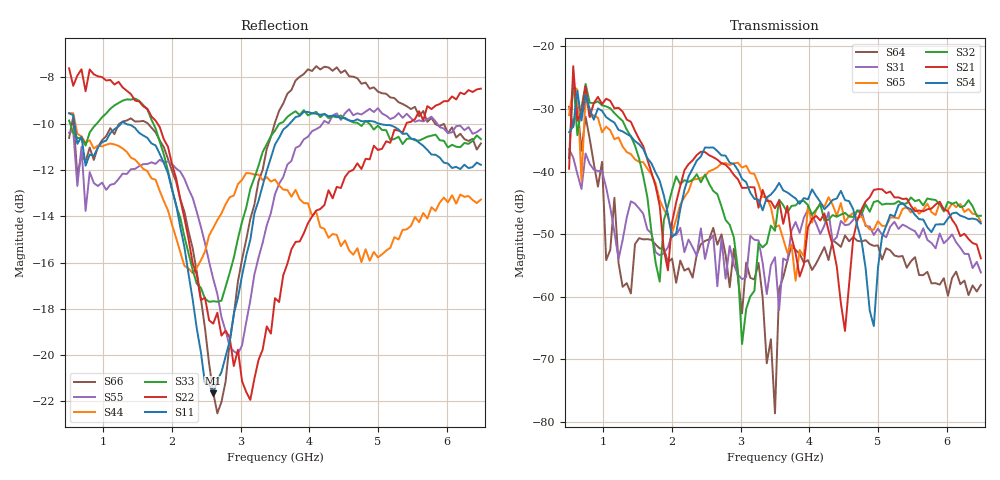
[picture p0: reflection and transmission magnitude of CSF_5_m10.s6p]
!Keysight Technologies,M9804A,MY58100912,A.14.10.03
!Date: Thursday, April 27, 2023 10:28:33
!Correction: S11(C  6-Port  )
!S12(C  6-Port  )
!S13(C  6-Port  )
!S14(C  6-Port  )
!S15(C  6-Port  )
!S16(C  6-Port  )
!S21(C  6-Port  )
!S22(C  6-Port  )
!S23(C  6-Port  )
!S24(C  6-Port  )
!S25(C  6-Port  )
!S26(C  6-Port  )
!S31(C  6-Port  )
!S32(C  6-Port  )
!S33(C  6-Port  )
!S34(C  6-Port  )
!S35(C  6-Port  )
!S36(C  6-Port  )
!S41(C  6-Port  )
!S42(C  6-Port  )
!S43(C  6-Port  )
!S44(C  6-Port  )
!S45(C  6-Port  )
!S46(C  6-Port  )
!S51(C  6-Port  )
!S52(C  6-Port  )
!S53(C  6-Port  )
!S54(C  6-Port  )
!S55(C  6-Port  )
!S56(C  6-Port  )
!S61(C  6-Port  )
!S62(C  6-Port  )
!S63(C  6-Port  )
!S64(C  6-Port  )
!S65(C  6-Port  )
!S66(C  6-Port  )
!S6P File: Measurement: :
# Hz S  RI  R 50
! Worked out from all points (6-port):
!   101 points, 500 MHz to 6.5 GHz, reference 50 ohm
!   strongest paths, dB at 500 MHz, 2 GHz, 3.5 GHz, 5 GHz, 6.5 GHz:
!     S54: -33.7, -50.4, -42.9, -55.4, -48.3
!     S21: -39.5, -48.1, -45.9, -42.8, -53.8
!     S32: -37.8, -43.0, -49.4, -44.7, -47.0
!     S65: -31.0, -49.8, -48.8, -47.9, -48.0
!     S31: -36.4, -50.0, -53.7, -49.1, -56.1
!     S64: -29.6, -53.9, -78.6, -51.8, -58.1
!   lowest |S11| = -21.7 dB at 2.6 GHz (marker M1), VSWR 1.18, Z = 42.6 + j2.05 ohm
!   |S11| at or under -10 dB: 577.7 MHz to 1.257 GHz (679.1 MHz wide, 74 % of centre); 1.324 GHz to 3.714 GHz (2.39 GHz wide, 94.9 % of centre); 5.014 GHz to end of sweep
